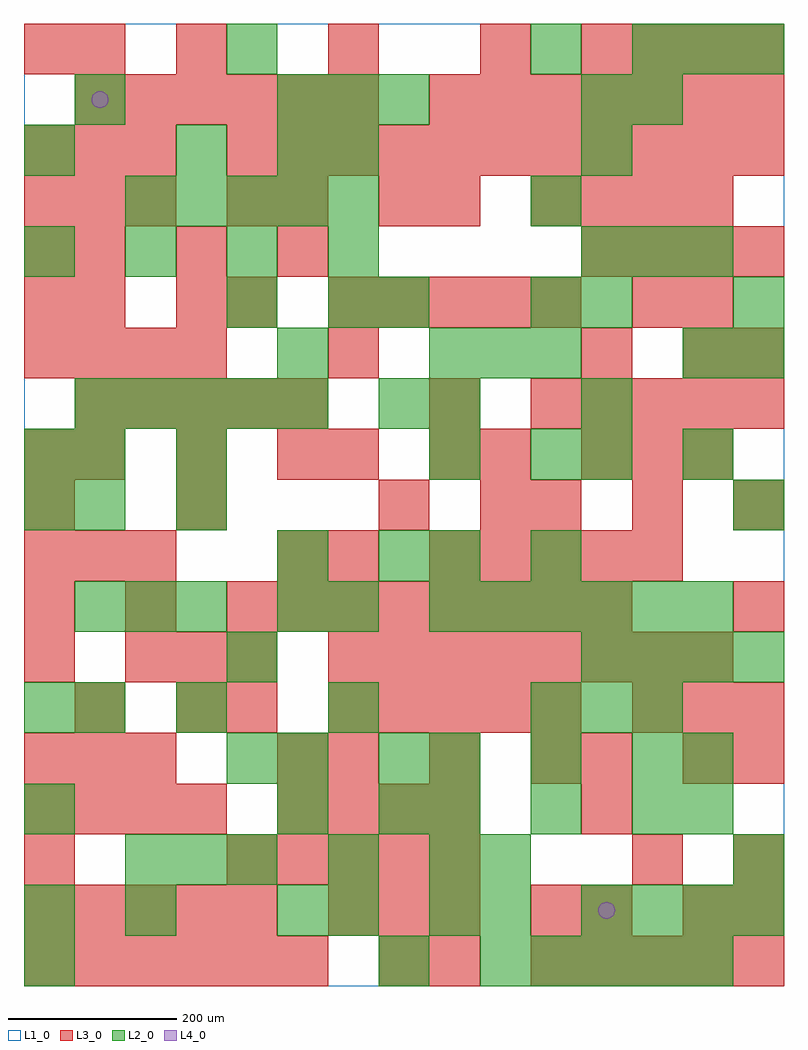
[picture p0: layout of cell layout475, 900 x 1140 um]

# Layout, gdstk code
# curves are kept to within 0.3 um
import gdstk
lib = gdstk.Library(unit=1e-6, precision=1e-09)
def R(c, l, rs):  # rectangles x0, y0, x1, y1
    for r in rs: c.add(gdstk.rectangle(r[:2], r[2:], *l))
def A(c, l, x, y, w, h, nx, ny, dx, dy):  # array of equal rectangles
    R(c, l, [(x+i*dx, y+j*dy, x+i*dx+w, y+j*dy+h) for i in range(nx) for j in range(ny)])
def P(c, l, *ps):  # polygons
    for p in ps: c.add(gdstk.Polygon(p, *l))
L1_0 = (1, 0)
L2_0 = (2, 0)
L3_0 = (3, 0)
L4_0 = (4, 0)

layout475 = lib.new_cell('layout475')
R(layout475, L1_0, [(0,0,900,1140)])
A(layout475, L2_0, 540, 0, 60, 60, 5, 1, 60, 0)
A(layout475, L2_0, 0, 60, 60, 60, 1, 3, 0, 120)
A(layout475, L2_0, 660, 60, 60, 60, 4, 2, 60, 300)
A(layout475, L2_0, 120, 120, 60, 60, 3, 1, 60, 0)
A(layout475, L2_0, 480, 180, 60, 60, 3, 2, 120, 60)
A(layout475, L2_0, 600, 300, 60, 60, 3, 1, 60, 0)
A(layout475, L2_0, 60, 420, 60, 60, 3, 1, 60, 0)
A(layout475, L2_0, 480, 420, 60, 60, 6, 1, 60, 0)
A(layout475, L2_0, 300, 480, 60, 60, 1, 3, 0, 240)
A(layout475, L2_0, 60, 660, 60, 60, 5, 1, 60, 0)
A(layout475, L2_0, 480, 720, 60, 60, 3, 1, 60, 0)
A(layout475, L2_0, 0, 840, 60, 60, 4, 1, 120, 0)
A(layout475, L2_0, 660, 840, 60, 60, 3, 1, 60, 0)
A(layout475, L2_0, 120, 900, 60, 60, 5, 1, 60, 0)
A(layout475, L2_0, 300, 1020, 60, 60, 3, 1, 60, 0)
A(layout475, L2_0, 720, 1080, 60, 60, 3, 1, 60, 0)
R(layout475, L2_0, [(0,0,60,60), (420,0,480,60), (120,60,180,120), (300,60,360,120), (360,60,420,120), (480,60,540,120), (540,60,600,120), (360,120,420,180), (480,120,540,180), (540,120,600,180), (840,120,900,180), (300,180,360,240), (420,180,480,240), (780,180,840,240), (240,240,300,300), (300,240,360,300), (420,240,480,300), (780,240,840,300), (60,300,120,360), (180,300,240,360), (360,300,420,360), (240,360,300,420), (300,420,360,480), (360,420,420,480), (420,480,480,540), (480,480,540,540), (600,480,660,540), (0,540,60,600), (60,540,120,600), (180,540,240,600), (840,540,900,600), (0,600,60,660), (60,600,120,660), (180,600,240,660), (480,600,540,660), (600,600,660,660), (660,600,720,660), (780,600,840,660), (420,660,480,720), (480,660,540,720), (660,660,720,720), (780,720,840,780), (840,720,900,780), (240,780,300,840), (360,780,420,840), (420,780,480,840), (600,780,660,840), (660,780,720,840), (840,780,900,840), (600,900,660,960), (0,960,60,1020), (180,960,240,1020), (360,960,420,1020), (660,960,720,1020), (60,1020,120,1080), (660,1020,720,1080), (720,1020,780,1080), (240,1080,300,1140), (600,1080,660,1140)])
A(layout475, L3_0, 0, 0, 60, 60, 6, 1, 60, 0)
A(layout475, L3_0, 600, 0, 60, 60, 5, 2, 60, 660)
A(layout475, L3_0, 0, 60, 60, 60, 5, 1, 60, 0)
A(layout475, L3_0, 360, 60, 60, 60, 3, 1, 60, 0)
A(layout475, L3_0, 240, 120, 60, 60, 5, 1, 60, 0)
A(layout475, L3_0, 0, 180, 60, 60, 4, 2, 60, 540)
A(layout475, L3_0, 300, 180, 60, 60, 4, 1, 60, 0)
A(layout475, L3_0, 0, 240, 60, 60, 3, 2, 60, 240)
A(layout475, L3_0, 360, 240, 60, 60, 3, 1, 120, 0)
A(layout475, L3_0, 180, 300, 60, 60, 1, 3, 0, 240)
A(layout475, L3_0, 360, 300, 60, 60, 5, 2, 60, 480)
A(layout475, L3_0, 720, 300, 60, 60, 3, 1, 60, 0)
A(layout475, L3_0, 120, 360, 60, 60, 3, 1, 60, 0)
A(layout475, L3_0, 360, 360, 60, 60, 8, 1, 60, 0)
A(layout475, L3_0, 0, 420, 60, 60, 3, 1, 120, 0)
A(layout475, L3_0, 300, 420, 60, 60, 7, 1, 60, 0)
A(layout475, L3_0, 360, 480, 60, 60, 1, 3, 0, 120)
A(layout475, L3_0, 480, 480, 60, 60, 5, 1, 60, 0)
A(layout475, L3_0, 600, 540, 60, 60, 3, 1, 120, 0)
A(layout475, L3_0, 60, 600, 60, 60, 3, 2, 120, 240)
A(layout475, L3_0, 660, 600, 60, 60, 3, 1, 60, 0)
A(layout475, L3_0, 60, 660, 60, 60, 5, 1, 60, 0)
A(layout475, L3_0, 660, 840, 60, 60, 4, 2, 60, 240)
A(layout475, L3_0, 0, 900, 60, 60, 3, 2, 60, 60)
A(layout475, L3_0, 600, 900, 60, 60, 4, 1, 60, 0)
A(layout475, L3_0, 240, 960, 60, 60, 11, 1, 60, 0)
A(layout475, L3_0, 60, 1020, 60, 60, 6, 1, 60, 0)
A(layout475, L3_0, 480, 1020, 60, 60, 7, 1, 60, 0)
A(layout475, L3_0, 180, 1080, 60, 60, 3, 1, 180, 0)
R(layout475, L3_0, [(420,0,480,60), (480,0,540,60), (600,60,660,120), (660,60,720,120), (780,60,840,120), (840,60,900,120), (0,120,60,180), (720,120,780,180), (840,120,900,180), (660,180,720,240), (300,240,360,300), (660,240,720,300), (780,240,840,300), (840,240,900,300), (60,300,120,360), (240,300,300,360), (0,360,60,420), (840,420,900,480), (300,480,360,540), (0,540,60,600), (420,540,480,600), (540,540,600,600), (0,600,60,660), (480,600,540,660), (540,600,600,660), (480,660,540,720), (660,720,720,780), (780,720,840,780), (840,720,900,780), (0,780,60,840), (60,780,120,840), (240,780,300,840), (720,780,780,840), (780,780,840,840), (0,840,60,900), (240,900,300,960), (300,900,360,960), (420,900,480,960), (480,900,540,960), (0,1080,60,1140), (60,1080,120,1140)])
P(layout475, L4_0, [(100,1050),(99.239,1053.827),(97.071,1057.071),(93.827,1059.239),(90,1060),(86.173,1059.239),(82.929,1057.071),(80.761,1053.827),(80,1050),(80.761,1046.173),(82.929,1042.929),(86.173,1040.761),(90,1040),(93.827,1040.761),(97.071,1042.929),(99.239,1046.173)],
  [(700,90),(699.239,93.827),(697.071,97.071),(693.827,99.239),(690,100),(686.173,99.239),(682.929,97.071),(680.761,93.827),(680,90),(680.761,86.173),(682.929,82.929),(686.173,80.761),(690,80),(693.827,80.761),(697.071,82.929),(699.239,86.173)])

lib.write_gds('layout475.gds')
